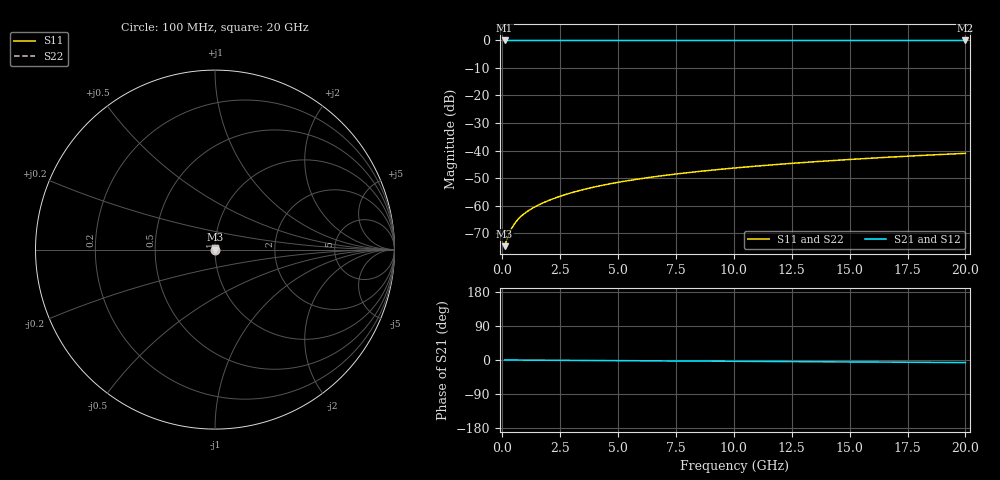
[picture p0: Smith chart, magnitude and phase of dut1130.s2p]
! Touchstone file exported from HFSS 2026.1.0
!  File:  C:/ffzhzh/LocalFiles/Ansys_Project_Files/temp_train_TSV_1130_1783191149_51560.aedt
!  Generated:  02:54:00 AM Jul  5, 2026
!  Design:  TSV
!  Project:  temp_train_TSV_1130_1783191149_51560
! Variables:
!  h_bsmrdl = 2um
!  h_ox = 20um
!  h_rdl = 5um
!  h_sub = 67.54um
!  h_tmrdl = 5um
!  h_tsv = 67.54um
!  h_via = 3um
!  l_bsmrdl = 300um
!  l_sub = 415.84um
!  l_tmrdl = 200um
!  m_sub = 200um
!  pitch = 34.86um
!  r_tsv = 7.92um
!  s_tmrdl = 10um
!  w_bsmrdl = 18um
!  w_sub = 500um
!  w_tmrdl = 12um
!  x_tsv_center1 = 206um
!  x_tsv_center2 = 524um
!  x_tsv_center3 = 736um
!  x_tsv_center4 = 1054um
!  x_tsv_center5 = 1266um
!  x_tsv_center6 = 1584um
# GHz S MA R 50.000000
! Terminal data exported
! Port[1] = TSV1_1_T1
! Port[2] = TSV1_1_T2
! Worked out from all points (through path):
!   200 points, 100 MHz to 20 GHz, reference 50 ohm
!   highest |S21| = 0.00 dB at 100 MHz (marker M1); lowest = 0.0 dB at 20 GHz (marker M2)
!   lowest |S11| = -74.8 dB at 100 MHz (marker M3), VSWR 1.00, Z = 50 + j0.00851 ohm
!   |S11| at or under -10 dB: start of sweep to end of sweep
!   |S22| runs from -74.8 to -41.0 dB; largest |S21 - S12| = 4.5e-15
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0.1  0.000183 27.7  0.9998 -0.0  0.9998 -0.0  0.000183 27.7
! Gamma 0 0 0 0
! Port Impedance 50 0 50 0
0.2  0.000241 44.0  0.9998 -0.1  0.9998 -0.1  0.000241 44.0
0.3  0.0003105 52.2  0.9998 -0.1  0.9998 -0.1  0.0003105 52.2
0.4  0.0003813 56.4  0.9998 -0.1  0.9998 -0.1  0.0003813 56.4
0.5  0.0004495 58.8  0.9998 -0.2  0.9998 -0.2  0.0004495 58.8
0.6  0.0005142 60.2  0.9997 -0.2  0.9997 -0.2  0.0005142 60.2
0.7  0.0005752 61.2  0.9997 -0.2  0.9997 -0.2  0.0005752 61.2
0.8  0.0006331 62.1  0.9997 -0.3  0.9997 -0.3  0.0006331 62.1
1  0.0007419 63.4  0.9997 -0.4  0.9997 -0.4  0.0007419 63.4
1.4  0.0009441 65.8  0.9996 -0.5  0.9996 -0.5  0.0009441 65.8
2  0.001236 68.5  0.9996 -0.7  0.9996 -0.7  0.001236 68.5
2.7  0.001573 70.7  0.9995 -0.9  0.9995 -0.9  0.001573 70.7
3.5  0.001954 72.2  0.9994 -1.2  0.9994 -1.2  0.001954 72.2
4.2  0.00228 73.0  0.9994 -1.4  0.9994 -1.4  0.00228 73.0
5  0.002645 73.6  0.9993 -1.7  0.9993 -1.7  0.002645 73.6
5.9  0.003047 74.1  0.9993 -2.0  0.9993 -2.0  0.003047 74.1
6.8  0.003441 74.4  0.9992 -2.3  0.9992 -2.3  0.003441 74.4
8.3  0.004085 74.8  0.9991 -2.8  0.9991 -2.8  0.004085 74.8
10.1  0.004847 75.1  0.999 -3.4  0.999 -3.4  0.004847 75.1
13.4  0.006222 75.3  0.9989 -4.5  0.9989 -4.5  0.006222 75.3
16.7  0.007575 75.0  0.9987 -5.7  0.9987 -5.7  0.007575 75.0
20  0.008899 74.5  0.9986 -6.8  0.9986 -6.8  0.008899 74.5
